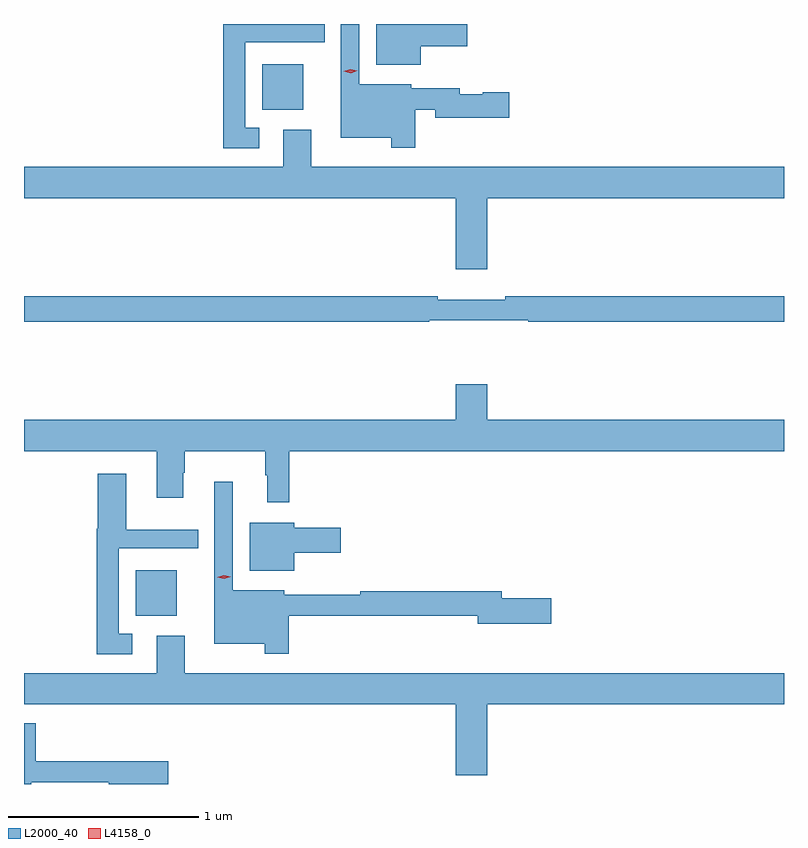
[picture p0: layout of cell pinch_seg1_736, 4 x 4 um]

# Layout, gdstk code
import gdstk
lib = gdstk.Library(unit=1e-6, precision=1e-09)
def R(c, l, rs):  # rectangles x0, y0, x1, y1
    for r in rs: c.add(gdstk.rectangle(r[:2], r[2:], *l))
def P(c, l, *ps):  # polygons
    for p in ps: c.add(gdstk.Polygon(p, *l))
L2000_40 = (2000, 40)
L4158_0 = (4158, 0)

pinch_seg1_736 = lib.new_cell('pinch_seg1_736')
R(pinch_seg1_736, L2000_40, [(870.614,514.901,870.832,515.14), (871.28,517.565,871.498,517.804)])
P(pinch_seg1_736, L2000_40, [(872.116,517.898),(872.359,517.898),(872.359,518.016),(871.88,518.016),(871.88,517.802),(872.116,517.802)],
  [(871.264,517.471),(871.191,517.471),(871.191,517.92),(871.61,517.92),(871.61,518.016),(871.075,518.016),(871.075,517.362),(871.264,517.362)],
  [(872.087,517.566),(872.192,517.566),(872.192,517.523),(872.581,517.523),(872.581,517.658),(872.442,517.658),(872.442,517.645),(872.32,517.645),(872.32,517.677),(872.064,517.677),(872.064,517.699),(871.791,517.699),(871.791,518.016),(871.695,518.016),(871.695,517.795),(871.694,517.795),(871.694,517.418),(871.959,517.418),(871.959,517.365),(872.087,517.365)],
  [(872.464,517.1),(874.027,517.1),(874.027,517.264),(871.54,517.264),(871.54,517.459),(871.391,517.459),(871.391,517.264),(870.027,517.264),(870.027,517.1),(872.3,517.1),(872.3,516.726),(872.464,516.726)],
  [(872.159,516.456),(872.68,516.456),(872.68,516.448),(874.027,516.448),(874.027,516.584),(872.56,516.584),(872.56,516.565),(872.204,516.565),(872.204,516.584),(870.027,516.584),(870.027,516.448),(872.159,516.448)],
  [(871.424,515.768),(874.027,515.768),(874.027,515.932),(872.464,515.932),(872.464,516.121),(872.3,516.121),(872.3,515.932),(870.027,515.932),(870.027,515.768),(870.725,515.768),(870.725,515.523),(870.865,515.523),(870.865,515.654),(870.873,515.654),(870.873,515.768),(871.296,515.768),(871.296,515.642),(871.307,515.642),(871.307,515.499),(871.424,515.499)],
  [(870.598,514.807),(870.525,514.807),(870.525,515.256),(870.944,515.256),(870.944,515.353),(870.565,515.353),(870.565,515.65),(870.416,515.65),(870.416,515.359),(870.409,515.359),(870.409,514.698),(870.598,514.698)],
  [(871.421,514.902),(872.414,514.902),(872.414,514.859),(872.803,514.859),(872.803,514.994),(872.542,514.994),(872.542,515.03),(871.798,515.03),(871.798,515.013),(871.398,515.013),(871.398,515.035),(871.125,515.035),(871.125,515.608),(871.029,515.608),(871.029,515.131),(871.028,515.131),(871.028,514.754),(871.293,514.754),(871.293,514.701),(871.421,514.701)],
  [(871.45,515.234),(871.693,515.234),(871.693,515.364),(871.45,515.364),(871.45,515.392),(871.214,515.392),(871.214,515.138),(871.45,515.138)],
  [(872.464,514.436),(874.027,514.436),(874.027,514.6),(870.874,514.6),(870.874,514.795),(870.725,514.795),(870.725,514.6),(870.027,514.6),(870.027,514.436),(872.3,514.436),(872.3,514.062),(872.464,514.062)],
  [(870.066,514.024),(870.472,514.024),(870.472,514.016),(870.785,514.016),(870.785,514.135),(870.089,514.135),(870.089,514.336),(870.027,514.336),(870.027,514.016),(870.066,514.016)])
P(pinch_seg1_736, L4158_0, [(871.746,517.758),(871.71,517.767),(871.71,517.767),(871.71,517.767),(871.745,517.778),(871.781,517.77),(871.781,517.77),(871.781,517.77)],
  [(871.08,515.096),(871.044,515.104),(871.043,515.104),(871.044,515.104),(871.079,515.116),(871.115,515.107),(871.115,515.107),(871.115,515.107)])

lib.write_gds('pinch_seg1_736.gds')
